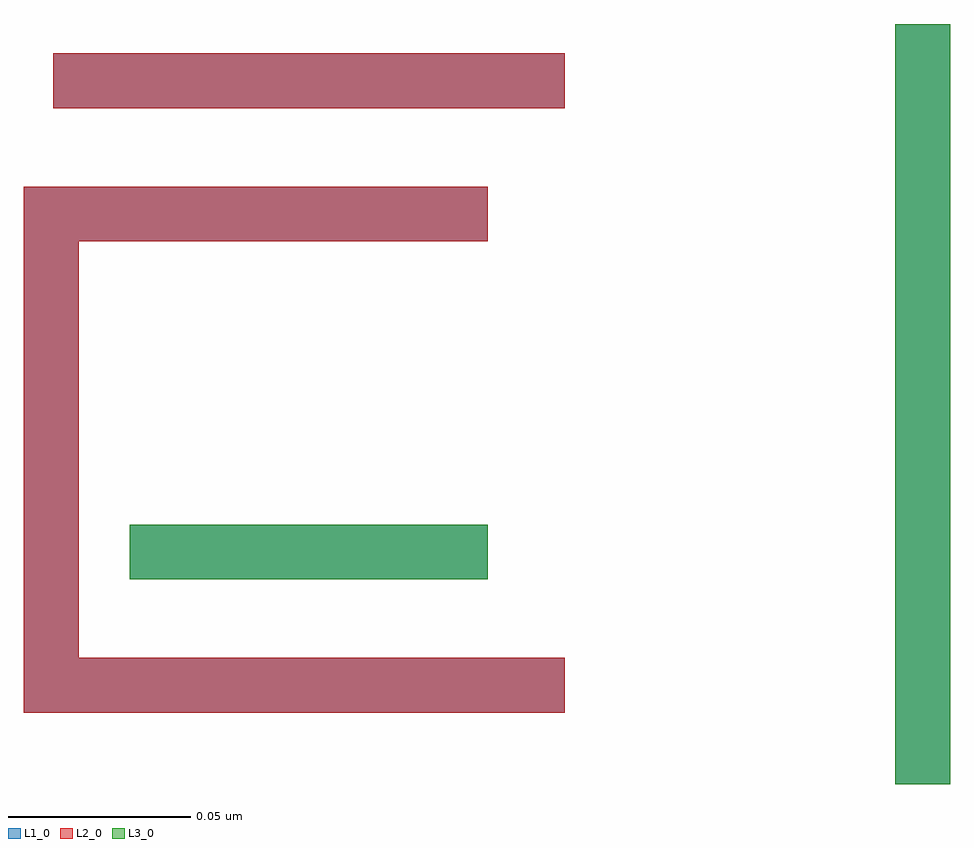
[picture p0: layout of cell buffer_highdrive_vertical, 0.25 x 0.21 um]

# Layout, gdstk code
import gdstk
lib = gdstk.Library(unit=1e-6, precision=5e-10)
def R(c, l, rs):  # rectangles x0, y0, x1, y1
    for r in rs: c.add(gdstk.rectangle(r[:2], r[2:], *l))
def P(c, l, *ps):  # polygons
    for p in ps: c.add(gdstk.Polygon(p, *l))
L1_0 = (1, 0)
L2_0 = (2, 0)
L3_0 = (3, 0)

invx4 = lib.new_cell('invx4')
R(invx4, L1_0, [(0.0755,0.0545,0.1735,0.0695), (0.0545,0.091,0.1945,0.106)])

buffer_highdrive_vertica = lib.new_cell('buffer_highdrive_vertical')
R(buffer_highdrive_vertica, L1_0, [(0.2795,-0.0945,0.2945,0.1135), (0.074,-0.0335,0.081,-0.027), (0.0735,0.096,0.08,0.101)])
P(buffer_highdrive_vertica, L1_0, [(0.0845,0.069),(0.0845,0.054),(0.056,0.054),(0.056,-0.06),(0.063,-0.06),(0.063,-0.075),(0.041,-0.075),(0.041,0.069)])
R(buffer_highdrive_vertica, L2_0, [(0.049,0.0905,0.189,0.1055)])
P(buffer_highdrive_vertica, L2_0, [(0.168,0.069),(0.168,0.054),(0.056,0.054),(0.056,-0.06),(0.189,-0.06),(0.189,-0.075),(0.041,-0.075),(0.041,0.069)])
R(buffer_highdrive_vertica, L3_0, [(0.2795,-0.0945,0.2945,0.1135), (0.07,-0.0385,0.168,-0.0235)])
buffer_highdrive_vertica.add(gdstk.Reference(invx4, (-0.0055,-0.0005)))
buffer_highdrive_vertica.add(gdstk.Reference(invx4, (-0.0055,0.031), x_reflection=True))

lib.write_gds('buffer_highdrive_vertical.gds')
